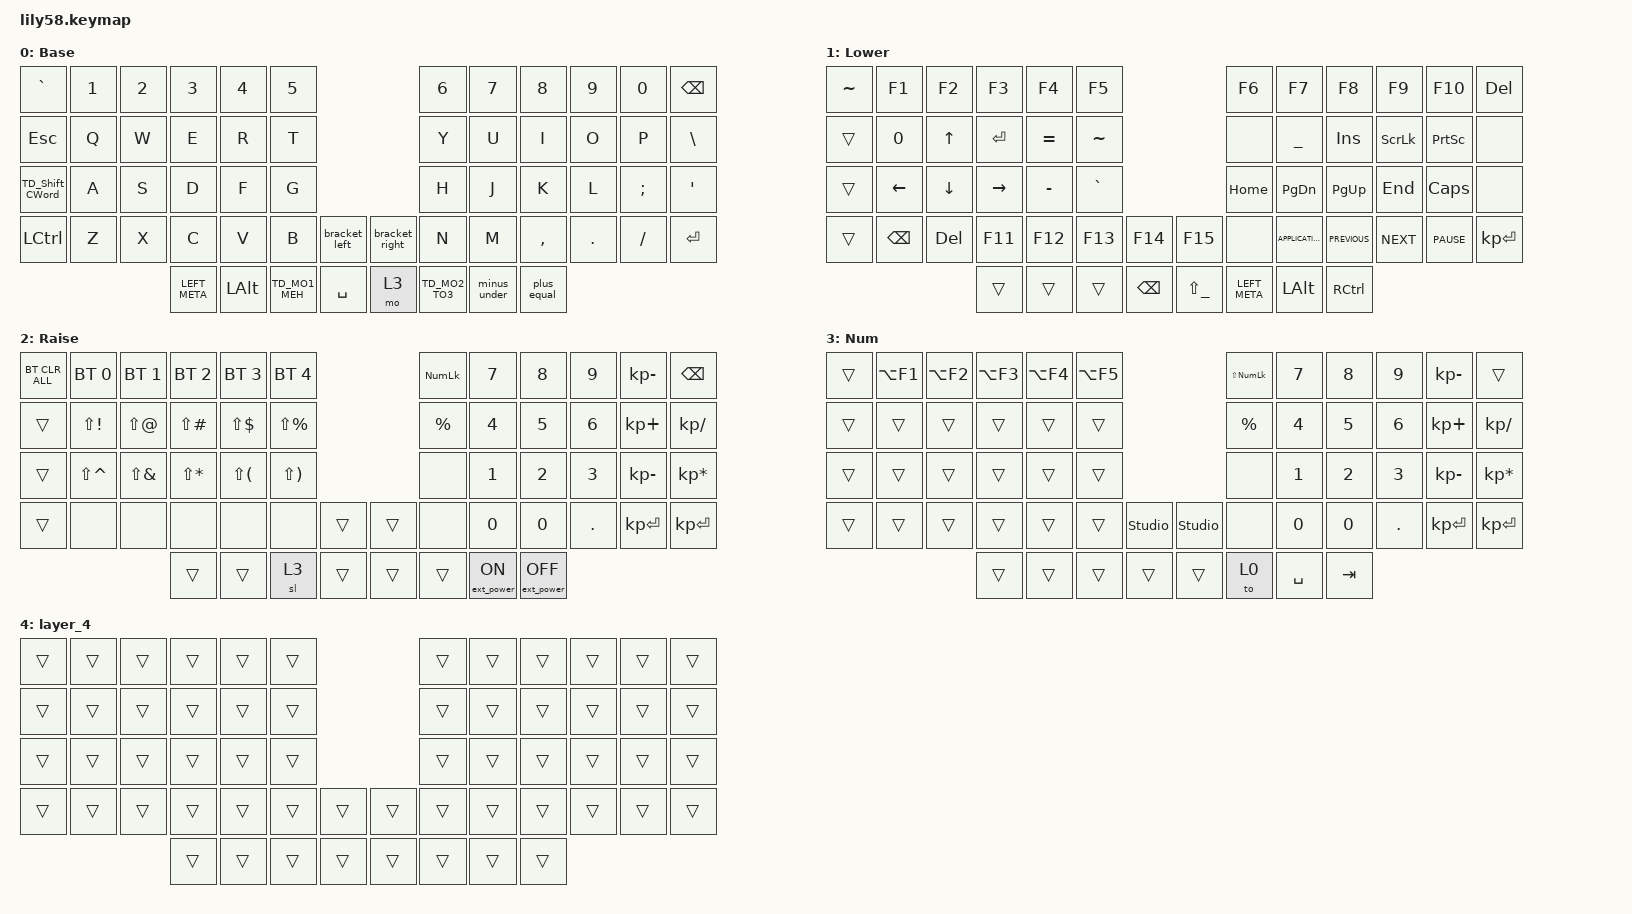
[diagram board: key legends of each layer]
/*
 * Copyright (c) 2020 The ZMK Contributors
 *
 * SPDX-License-Identifier: MIT
 */

#include <behaviors.dtsi>
#include <dt-bindings/zmk/bt.h>
#include <dt-bindings/zmk/ext_power.h>
#include <dt-bindings/zmk/keys.h>

&mt {
    tapping-term-ms = <120>;
    quick-tap-ms = <100>;
    hold-while-undecided;
};

/ {
    behaviors {
        minus_under: minus_under {
            compatible = "zmk,behavior-tap-dance";
            label = "MINUS_UNDER";
            #binding-cells = <0>;
            bindings = <&kp MINUS>, <&kp LS(MINUS)>;

            tapping-term-ms = <200>;
        };

        plus_equal: plus_equal {
            compatible = "zmk,behavior-tap-dance";
            label = "PLUS_EQUAL";
            #binding-cells = <0>;
            bindings = <&kp EQUAL>, <&kp LS(EQUAL)>;

            tapping-term-ms = <200>;
        };

        bracket_left: bracket_left {
            compatible = "zmk,behavior-tap-dance";
            label = "BRACKET_LEFT";
            #binding-cells = <0>;
            bindings = <&kp LEFT_BRACKET>, <&kp LS(LEFT_BRACKET)>;

            tapping-term-ms = <200>;
        };

        bracket_right: bracket_right {
            compatible = "zmk,behavior-tap-dance";
            label = "BRACKET_RIGHT";
            #binding-cells = <0>;
            bindings = <&kp RIGHT_BRACKET>, <&kp LS(RIGHT_BRACKET)>;

            tapping-term-ms = <200>;
        };

        TD_MO1_MEH: TD_MO1_MEH {
            compatible = "zmk,behavior-tap-dance";
            label = "TD_MO1_MEH";
            #binding-cells = <0>;
            bindings = <&mo 1>, <&kp LA(LC(LEFT_SHIFT))>;

            tapping-term-ms = <250>;
        };

        TD_Shift_CWord: TD_Shift_CWord {
            compatible = "zmk,behavior-tap-dance";
            label = "TD_SHIFT_CWORD";
            #binding-cells = <0>;
            bindings = <&kp LEFT_SHIFT>, <&caps_word>;
        };

        TD_MO2_TO3: TD_MO2_TO3 {
            compatible = "zmk,behavior-tap-dance";
            label = "TD_MO2_TO3";
            #binding-cells = <0>;
            bindings = <&mo 2>, <&to 3>;
        };
    };

    combos {
        compatible = "zmk,combos";

        CMB_TAB {
            bindings = <&kp TAB>;
            key-positions = <13 14>;
            layers = <0>;
            timeout-ms = <30>;
        };

        CMB_TILDE {
            bindings = <&kp TILDE>;
            key-positions = <0 1>;
            layers = <0>;
            timeout-ms = <20>;
            require-prior-idle-ms = <100>;
        };

        CMB_BACKSPACE {
            bindings = <&kp BACKSPACE>;
            key-positions = <31 32>;
            timeout-ms = <30>;
        };

        CMB_C_BACKSPACE {
            bindings = <&kp LC(BACKSPACE)>;
            key-positions = <31 33>;
            timeout-ms = <30>;
        };

        CMB_S_TAB {
            bindings = <&kp LS(TAB)>;
            key-positions = <13 15>;
            layers = <0>;
            timeout-ms = <30>;
        };

        CMB_ENTER {
            bindings = <&kp ENTER>;
            key-positions = <27 28>;
            layers = <0>;
            timeout-ms = <30>;
        };

        CMB_DELETE {
            bindings = <&kp DELETE>;
            key-positions = <19 20>;
            timeout-ms = <20>;
            require-prior-idle-ms = <100>;
        };

        CMB_C_DELETE {
            bindings = <&kp LC(DELETE)>;
            key-positions = <19 21>;
            timeout-ms = <20>;
            require-prior-idle-ms = <100>;
        };

        CMB_WIN_DOT {
            bindings = <&kp LG(KP_DOT)>;
            key-positions = <42 43>;
            timeout-ms = <60>;
            require-prior-idle-ms = <50>;
        };
    };

    keymap {
        compatible = "zmk,keymap";

        default_layer {
            // ------------------------------------------------------------------------------------------------------------
            // |  `    |  1  |  2  |  3   |  4   |  5   |                   |  6   |  7    |  8    |  9   |   0   | BKSP  |
            // |  TAB  |  Q  |  W  |  E   |  R   |  T   |                   |  Y   |  U    |  I    |  O   |   P   |   \   |
            // |  ESC  |  A  |  S  |  D   |  F   |  G   |                   |  H   |  J    |  K    |  L   |   ;   |   '   |
            // |  (    |  Z  |  X  |  C   |  V   |  B   |   "["  |  |  "]"  |  N   |  M    |  ,    |  .   |   /   | ENTER |
            //                     | GUI  | ALT  | LOWER|  SPACE |  | ENTER | RAISE|   -   |   +   |

            display-name = "Base";
            bindings = <
&kp GRAVE        &kp N1  &kp N2  &kp N3         &kp N4        &kp N5                                        &kp N6       &kp N7        &kp N8       &kp N9   &kp N0    &kp BACKSPACE
&kp ESCAPE       &kp Q   &kp W   &kp E          &kp R         &kp T                                         &kp Y        &kp U         &kp I        &kp O    &kp P     &kp BACKSLASH
&TD_Shift_CWord  &kp A   &kp S   &kp D          &kp F         &kp G                                         &kp H        &kp J         &kp K        &kp L    &kp SEMI  &kp SQT
&kp LCTRL        &kp Z   &kp X   &kp C          &kp V         &kp B        &bracket_left    &bracket_right  &kp N        &kp M         &kp COMMA    &kp DOT  &kp FSLH  &kp ENTER
                                 &kp LEFT_META  &kp LEFT_ALT  &TD_MO1_MEH  &kp SPACE        &mo 3           &TD_MO2_TO3  &minus_under  &plus_equal
            >;
        };

        lower_layer {
            // ------------------------------------------------------------------------------------------------------------
            // | BTCLR | F1  | F2  |  F3  |  F4  |  F5  |                   |  F6  |  F7   |  F8   |  F9  |  F10  | DEL   |
            // |  TAB  |  0  | UP  | RET  |  =   |  F6  |                   |  Y   |  _    |  I    |  O   |       |  F12  |
            // |   `   |LEFT |DOWN |RIGHT |  -   |  %   |                   |  ^   |  &    |  *    |  (   |   )   |   ~   |
            // |       |BKSP | DEL |      |      |      |  F11  |  F12      |      |  -    |  +    |  {   |   }   |  "|"  |
            //                     |      |      |      | BKSP  |  _        |      |       |       |

            display-name = "Lower";
            bindings = <
&kp TILDE  &kp F1    &kp F2    &kp F3     &kp F4     &kp F5                                &kp F6         &kp F7             &kp F8          &kp F9          &kp F10          &kp DEL
&trans     &kp N0    &kp UP    &kp RET    &kp EQUAL  &kp TILDE                             &none          &kp UNDERSCORE     &kp INSERT      &kp SCROLLLOCK  &kp PRINTSCREEN  &none
&trans     &kp LEFT  &kp DOWN  &kp RIGHT  &kp MINUS  &kp GRAVE                             &kp HOME       &kp PAGE_DOWN      &kp PAGE_UP     &kp END         &kp CAPSLOCK     &none
&trans     &kp BSPC  &kp DEL   &kp F11    &kp F12    &kp F13    &kp F14     &kp F15        &none          &kp K_APPLICATION  &kp C_PREVIOUS  &kp C_NEXT      &kp C_PAUSE      &kp KP_ENTER
                               &trans     &trans     &trans     &kp BSPC    &kp LS(UNDER)  &kp LEFT_META  &kp LEFT_ALT       &kp RCTRL
            >;
        };

        raise_layer {
            // ------------------------------------------------------------------------------------------------------------
            // |BTCLR  |     |     |      |      |      |                   |      |       |       |      |       |       |
            // |   `   |  1  |  2  |  3   |  4   |  5   |                   |  6   |   7   |   8   |  9   |   0   |       |
            // |   F1  |  F2 |  F3 |  F4  |  F5  |  F6  |                   |      |   <-  |   v   |  ^   |  ->   |       |
            // |   F7  |  F8 |  F9 |  F10 |  F11 |  F12 |        |  |       |  +   |   -   |   =   |  [   |   ]   |   \   |
            //                     |      |      |      |        |  |       |      |  EP_ON| EP_OFF|

            display-name = "Raise";
            bindings = <
&bt BT_CLR_ALL  &bt BT_SEL 0   &bt BT_SEL 1  &bt BT_SEL 2   &bt BT_SEL 3  &bt BT_SEL 4                     &kp KP_NUMLOCK  &kp N7            &kp N8             &kp N9   &kp KP_MINUS  &kp BACKSPACE
&trans          &kp LS(EXCL)   &kp LS(AT)    &kp LS(POUND)  &kp LS(DLLR)  &kp LS(PRCNT)                    &kp PERCENT     &kp N4            &kp N5             &kp N6   &kp KP_PLUS   &kp KP_DIVIDE
&trans          &kp LS(CARET)  &kp LS(AMPS)  &kp LS(STAR)   &kp LS(LPAR)  &kp LS(RPAR)                     &none           &kp N1            &kp N2             &kp N3   &kp KP_MINUS  &kp KP_MULTIPLY
&trans          &none          &none         &none          &none         &none          &trans    &trans  &none           &kp N0            &kp N0             &kp DOT  &kp KP_ENTER  &kp KP_ENTER
                                             &trans         &trans        &sl 3          &trans    &trans  &trans          &ext_power EP_ON  &ext_power EP_OFF
            >;
        };

        SL_3 {
            display-name = "Num";
            bindings = <
&trans  &kp LA(F1)  &kp LA(F2)  &kp LA(F3)  &kp LA(F4)  &kp LA(F5)                                    &kp LS(KP_NUMLOCK)  &kp N7     &kp N8   &kp N9   &kp KP_SUBTRACT  &trans
&trans  &trans      &trans      &trans      &trans      &trans                                        &kp PERCENT         &kp N4     &kp N5   &kp N6   &kp KP_PLUS      &kp KP_DIVIDE
&trans  &trans      &trans      &trans      &trans      &trans                                        &none               &kp N1     &kp N2   &kp N3   &kp KP_MINUS     &kp KP_MULTIPLY
&trans  &trans      &trans      &trans      &trans      &trans      &studio_unlock    &studio_unlock  &none               &kp N0     &kp N0   &kp DOT  &kp KP_ENTER     &kp KP_ENTER
                                &trans      &trans      &trans      &trans            &trans          &to 0               &kp SPACE  &kp TAB
            >;
        };

        layer_4 {
            bindings = <
&trans  &trans  &trans  &trans  &trans  &trans                    &trans  &trans  &trans  &trans  &trans  &trans
&trans  &trans  &trans  &trans  &trans  &trans                    &trans  &trans  &trans  &trans  &trans  &trans
&trans  &trans  &trans  &trans  &trans  &trans                    &trans  &trans  &trans  &trans  &trans  &trans
&trans  &trans  &trans  &trans  &trans  &trans  &trans    &trans  &trans  &trans  &trans  &trans  &trans  &trans
                        &trans  &trans  &trans  &trans    &trans  &trans  &trans  &trans
            >;
        };
    };
};

// Disable I2C to prevent SPI/I2C conflict (must be last to override lily58.dtsi)

&pro_micro_i2c { status = "disabled"; };
